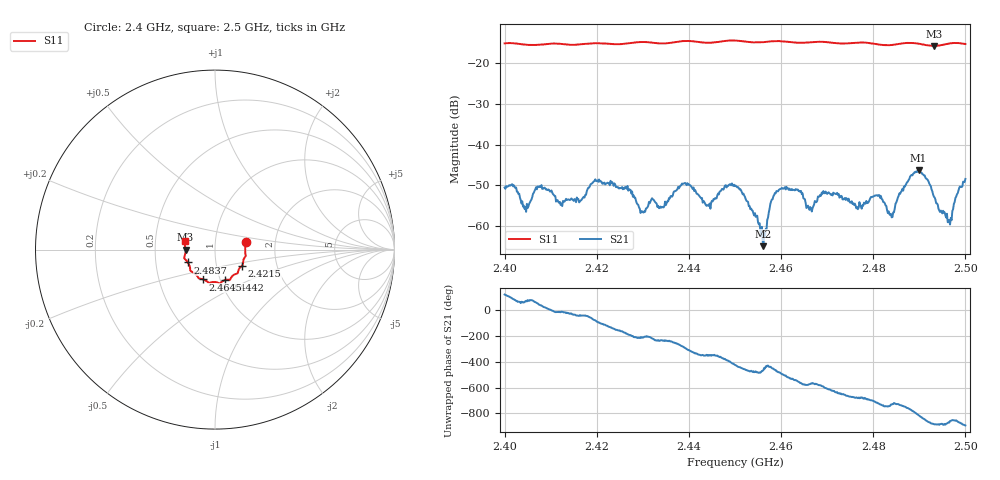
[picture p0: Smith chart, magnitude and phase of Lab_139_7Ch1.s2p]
# Hz S RI R 50
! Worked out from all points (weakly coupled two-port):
!   601 points, 2.4 GHz to 2.5 GHz, reference 50 ohm
!   highest |S21| = -46.30 dB at 2.4898 GHz (marker M1); lowest = -65.0 dB at 2.4562 GHz (marker M2)
!   lowest |S11| = -15.7 dB at 2.4932 GHz (marker M3), VSWR 1.39, Z = 35.9 - j0.0529 ohm
!   |S11| at or under -10 dB: start of sweep to end of sweep
!   S12 and S22 are empty: the file has one direction only
!   S11 on the Smith chart (normalised r, x): 2.4 GHz: 1.41, +0.12; 2.4215 GHz: 1.33, -0.25; 2.4442 GHz: 1.05, -0.37; 2.4645 GHz: 0.83, -0.29; 2.4837 GHz: 0.73, -0.11; 2.5 GHz: 0.71, +0.07
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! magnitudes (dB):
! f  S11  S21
! 2.4 GHz  -15.1  -50.6
! 2.4045 GHz  -15.4  -55.4
! 2.4075 GHz  -15.5  -50.4
! 2.4167 GHz  -15.3  -53.7
! 2.4215 GHz  -15.1  -49.4
! 2.43 GHz  -14.8  -56.7
! 2.4333 GHz  -15.1  -55.1
! 2.4392 GHz  -14.5  -49.4
! 2.4442 GHz  -15.0  -54.9
! 2.45 GHz  -14.4  -50.2
! 2.4562 GHz  -14.8  -65.0
! 2.459 GHz  -14.5  -51.4
! 2.4645 GHz  -15.0  -52.2
! 2.4667 GHz  -14.8  -56.5
! 2.4697 GHz  -14.8  -51.6
! 2.4812 GHz  -15.4  -52.5
! 2.4833 GHz  -15.6  -56.4
! 2.4837 GHz  -15.5  -57.3
! 2.4898 GHz  -15.2  -46.3
! 2.4932 GHz  -15.7  -52.8
! 2.4965 GHz  -15.1  -58.6
! 2.5 GHz  -15.3  -48.5
